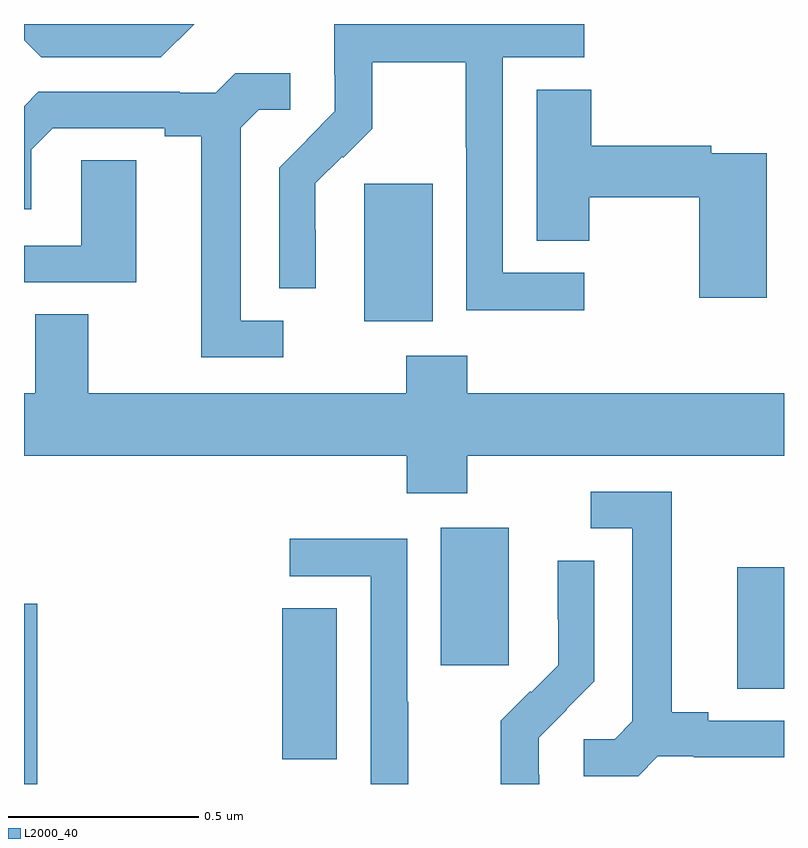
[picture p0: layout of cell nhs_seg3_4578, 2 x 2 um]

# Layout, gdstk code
import gdstk
lib = gdstk.Library(unit=1e-6, precision=1e-09)
def R(c, l, rs):  # rectangles x0, y0, x1, y1
    for r in rs: c.add(gdstk.rectangle(r[:2], r[2:], *l))
def P(c, l, *ps):  # polygons
    for p in ps: c.add(gdstk.Polygon(p, *l))
L2000_40 = (2000, 40)

nhs_seg3_4578 = lib.new_cell('nhs_seg3_4578')
R(nhs_seg3_4578, L2000_40, [(168,685.4,168.035,685.875), (168.68,685.465,168.823,685.862), (169.877,685.651,170,685.971), (169.097,685.713,169.276,686.074), (168.896,686.618,169.075,686.979)])
P(nhs_seg3_4578, L2000_40, [(168.448,687.4),(168,687.4),(168,687.357),(168.045,687.312),(168.36,687.312)],
  [(169.474,686.745),(169.26,686.745),(169.26,687.312),(169.474,687.312),(169.474,687.4),(168.816,687.4),(168.816,687.267),(168.818,687.267),(168.818,687.17),(168.744,687.096),(168.745,687.095),(168.672,687.022),(168.672,686.704),(168.768,686.704),(168.768,686.858),(168.767,686.858),(168.767,686.981),(168.837,687.051),(168.84,687.048),(168.917,687.125),(168.917,687.3),(169.162,687.3),(169.162,687.076),(169.164,687.076),(169.164,686.647),(169.474,686.647)],
  [(168.682,686.619),(168.571,686.619),(168.571,687.127),(168.618,687.174),(168.7,687.174),(168.7,687.271),(168.556,687.271),(168.504,687.219),(168.41,687.219),(168.41,687.222),(168.038,687.222),(168,687.184),(168,686.913),(168.019,686.913),(168.019,687.069),(168.076,687.126),(168.371,687.126),(168.371,687.104),(168.467,687.104),(168.467,686.523),(168.682,686.523)],
  [(169.955,687.06),(169.808,687.06),(169.808,687.08),(169.493,687.08),(169.493,687.227),(169.349,687.227),(169.349,686.83),(169.488,686.83),(169.488,686.944),(169.777,686.944),(169.777,686.679),(169.955,686.679)],
  [(168.295,687.041),(168.15,687.041),(168.15,686.817),(168,686.817),(168,686.721),(168.295,686.721)],
  [(169.167,686.264),(170,686.264),(170,686.428),(169.166,686.428),(169.166,686.527),(169.006,686.527),(169.006,686.428),(168.169,686.428),(168.169,686.636),(168.029,686.636),(168.029,686.428),(168,686.428),(168,686.264),(169.007,686.264),(169.007,686.165),(169.167,686.165)],
  [(169.668,685.473),(169.762,685.473),(169.762,685.47),(170,685.47),(170,685.566),(169.801,685.566),(169.801,685.589),(169.705,685.589),(169.705,686.169),(169.491,686.169),(169.491,686.073),(169.601,686.073),(169.601,685.565),(169.554,685.518),(169.473,685.518),(169.473,685.421),(169.616,685.421)],
  [(169.011,685.616),(169.008,685.616),(169.008,686.046),(168.699,686.046),(168.699,685.947),(168.912,685.947),(168.912,685.4),(169.011,685.4)],
  [(169.356,685.425),(169.354,685.425),(169.354,685.522),(169.428,685.596),(169.427,685.597),(169.5,685.67),(169.5,685.988),(169.404,685.988),(169.404,685.834),(169.406,685.834),(169.406,685.712),(169.335,685.641),(169.332,685.644),(169.255,685.567),(169.255,685.4),(169.356,685.4)])

lib.write_gds('nhs_seg3_4578.gds')
